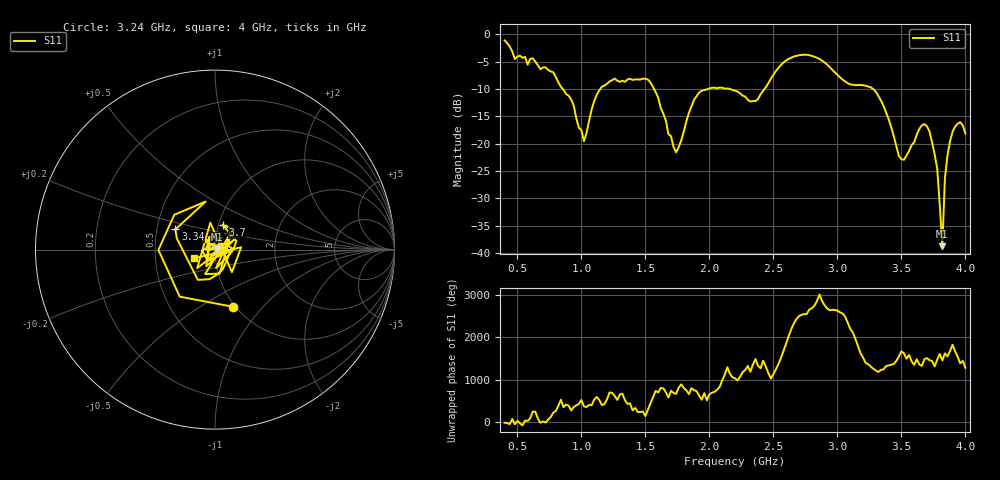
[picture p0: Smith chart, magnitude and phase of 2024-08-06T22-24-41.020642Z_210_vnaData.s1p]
!Created with skrf (http://scikit-rf.org).
# Hz S RI R 50.0
!freq ReS11 ImS11
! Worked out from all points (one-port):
!   181 points, 400 MHz to 4 GHz, reference 50 ohm
!   lowest |S11| = -38.8 dB at 3.82 GHz (marker M1), VSWR 1.02, Z = 51.1 + j0.363 ohm
!   |S11| at or under -10 dB: 854.5 MHz to 1.147 GHz (292.7 MHz wide, 29.2 % of centre); 1.567 GHz to 1.99 GHz (422.8 MHz wide, 23.8 % of centre); 3.278 GHz to end of sweep (the widest 3 of 4)
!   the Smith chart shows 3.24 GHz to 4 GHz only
!   S11 on the Smith chart (normalised r, x): 3.24 GHz: 0.97, -0.69; 3.34 GHz: 0.63, +0.15; 3.7 GHz: 1.05, +0.29; 4 GHz: 0.79, -0.08
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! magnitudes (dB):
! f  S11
! 400 MHz  -1.1
! 480 MHz  -4.5
! 620 MHz  -4.4
! 860 MHz  -10.2
! 940 MHz  -13.0
! 1.02 GHz  -19.6
! 1.14 GHz  -10.2
! 1.3 GHz  -8.7
! 1.52 GHz  -8.3
! 1.72 GHz  -20.6
! 1.76 GHz  -20.7
! 1.92 GHz  -10.7
! 2.2 GHz  -10.3
! 2.36 GHz  -12.2
! 2.66 GHz  -4.1
! 2.86 GHz  -4.5
! 3.1 GHz  -9.2
! 3.24 GHz  -9.6
! 3.34 GHz  -12.1
! 3.48 GHz  -22.3
! 3.56 GHz  -21.3
! 3.7 GHz  -16.8
! 3.78 GHz  -24.6
! 3.82 GHz  -38.8
! 3.84 GHz  -26.3
! 3.88 GHz  -19.5
! 3.96 GHz  -16.1
! 4 GHz  -18.1
